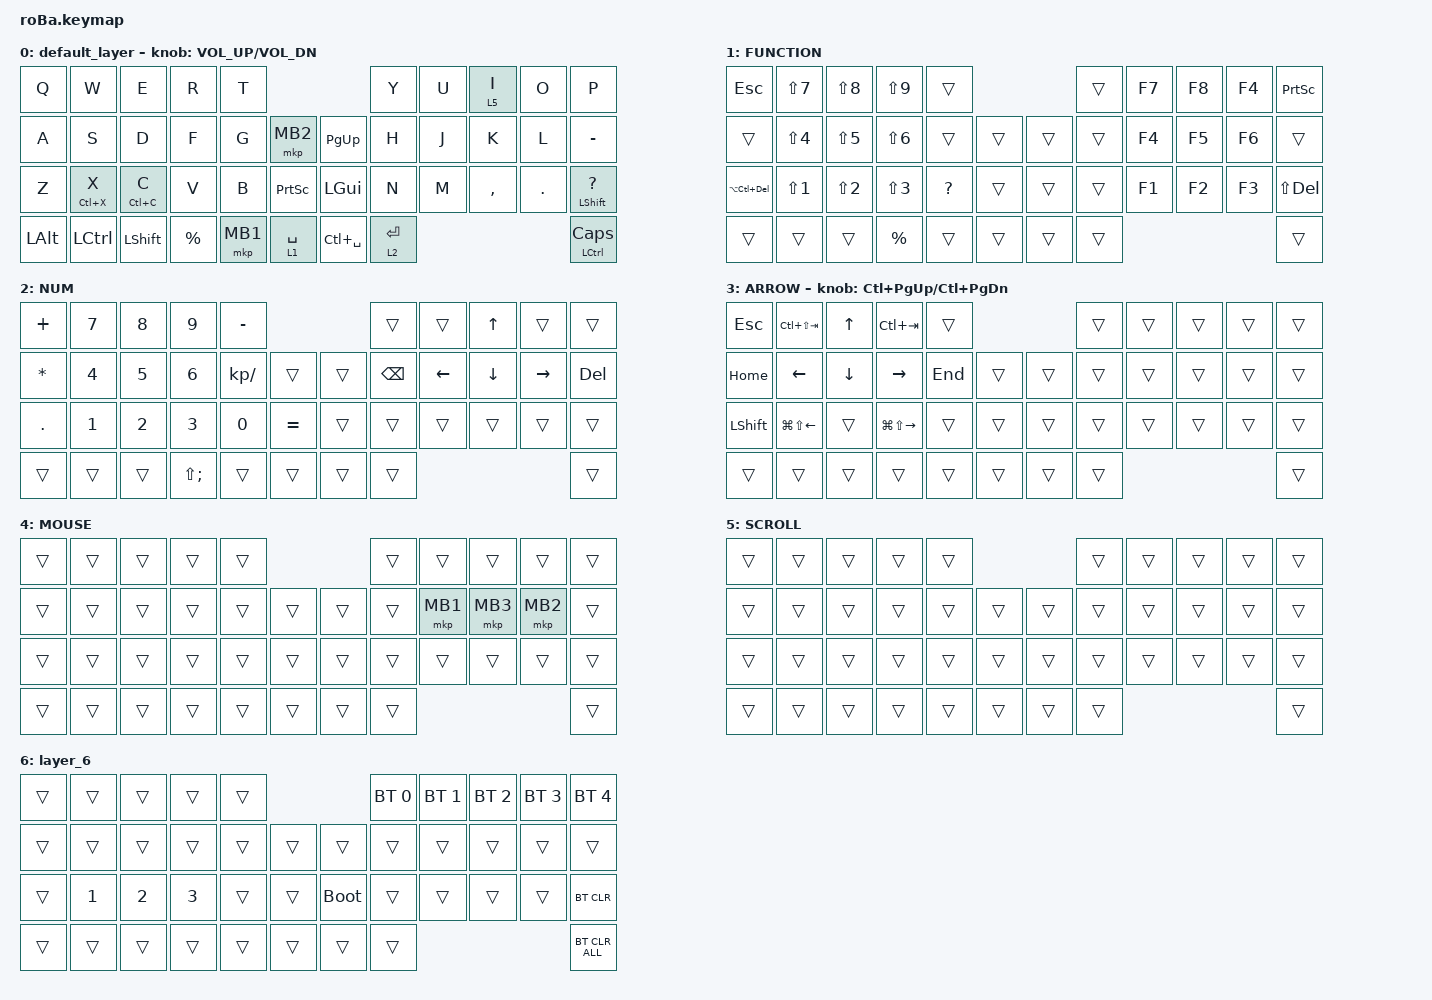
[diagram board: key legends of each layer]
#include <behaviors.dtsi>
#include <dt-bindings/zmk/bt.h>
#include <dt-bindings/zmk/keys.h>
#include <dt-bindings/zmk/pointing.h>

&mt {
    flavor = "balanced";
    quick-tap-ms = <0>;
};

&trackball {
    automouse-layer = <4>;
    scroll-layers = <5>;

    // arrows {
    //     layers = <3>;
    //     bindings =
    //         <&kp RIGHT_ARROW>,
    //         <&kp LEFT_ARROW>,
    //         <&kp UP_ARROW>,
    //         <&kp DOWN_ARROW>;
    //     tick = <10>;
    //     wait-ms = <5>;
    //     tap-ms = <5>;
    // };
};

/ {
    combos {
        compatible = "zmk,combos";

        tab {
            bindings = <&kp LEFT_ALT>;
            key-positions = <13 12>;
        };

        shift_tab {
            bindings = <&kp TAB>;
            key-positions = <18 19>;
        };

        day {
            bindings = <&kp LC(SEMICOLON)>;
            key-positions = <20 21>;
        };

        hizuke {
            bindings = <&kp LC(V)>;
            key-positions = <26 25>;
        };
    };

    macros {
        to_layer_0: to_layer_0 {
            compatible = "zmk,behavior-macro-one-param";
            #binding-cells = <1>;
            bindings = <&to 0 &macro_param_1to1 &kp MACRO_PLACEHOLDER>;
            label = "TO_LAYER_0";
        };
    };

    behaviors {
        lt_to_layer_0: lt_to_layer_0 {
            compatible = "zmk,behavior-hold-tap";
            label = "LAYER_TAP_TO_0";
            bindings = <&mo>, <&to_layer_0>;

            #binding-cells = <2>;
            tapping-term-ms = <200>;
        };
    };

    keymap {
        compatible = "zmk,keymap";

        default_layer {
            bindings = <
&kp Q         &kp W             &kp E           &kp R        &kp T                                     &kp Y        &kp U  &lt 5 I    &kp O    &kp P
&kp A         &kp S             &kp D           &kp F        &kp G     &mkp MB2         &kp PAGE_UP    &kp H        &kp J  &kp K      &kp L    &kp MINUS
&kp Z         &mt LC(X) X       &mt LC(C) C     &kp V        &kp B     &kp PSCRN        &kp LEFT_GUI   &kp N        &kp M  &kp COMMA  &kp DOT  &mt LEFT_SHIFT QMARK
&kp LEFT_ALT  &kp LEFT_CONTROL  &kp LEFT_SHIFT  &kp PERCENT  &mkp MB1  &lt 1 SPACE      &kp LC(SPACE)  &lt 2 ENTER                             &mt LEFT_CONTROL CLCK
            >;

            sensor-bindings = <&inc_dec_kp C_VOL_UP C_VOL_DN>;
        };

        FUNCTION {
            bindings = <
&kp ESC          &kp LS(N7)        &kp LS(N8)  &kp LS(N9)        &trans                            &trans  &kp F7  &kp F8  &kp F4  &kp PSCRN
&trans           &kp LS(N4)        &kp LS(N5)  &kp LS(NUMBER_6)  &trans        &trans      &trans  &trans  &kp F4  &kp F5  &kp F6  &trans
&kp LA(LC(DEL))  &kp LS(NUMBER_1)  &kp LS(N2)  &kp LS(NUMBER_3)  &kp QUESTION  &trans      &trans  &trans  &kp F1  &kp F2  &kp F3  &kp LS(DEL)
&trans           &trans            &trans      &kp PERCENT       &trans        &trans      &trans  &trans                          &trans
            >;
        };

        NUM {
            bindings = <
&kp PLUS      &kp NUMBER_7  &kp N8        &kp NUMBER_9       &kp MINUS                            &trans         &trans          &kp UP_ARROW    &trans           &trans
&kp ASTERISK  &kp N4        &kp N5        &kp NUMBER_6       &kp KP_SLASH  &trans         &trans  &kp BACKSPACE  &kp LEFT_ARROW  &kp DOWN_ARROW  &kp RIGHT_ARROW  &kp DEL
&kp PERIOD    &kp NUMBER_1  &kp NUMBER_2  &kp NUMBER_3       &kp NUMBER_0  &kp EQUAL      &trans  &trans         &trans          &trans          &trans           &trans
&trans        &trans        &trans        &kp LS(SEMICOLON)  &trans        &trans         &trans  &trans                                                          &trans
            >;
        };

        ARROW {
            bindings = <
&kp ESCAPE      &kp LC(LS(TAB))         &kp UP_ARROW    &kp LC(TAB)              &trans                       &trans  &trans  &trans  &trans  &trans
&kp HOME        &kp LEFT_ARROW          &kp DOWN_ARROW  &kp RIGHT_ARROW          &kp END  &trans      &trans  &trans  &trans  &trans  &trans  &trans
&kp LEFT_SHIFT  &kp LG(LS(LEFT_ARROW))  &trans          &kp LG(LS(RIGHT_ARROW))  &trans   &trans      &trans  &trans  &trans  &trans  &trans  &trans
&trans          &trans                  &trans          &trans                   &trans   &trans      &trans  &trans                          &trans
            >;

            sensor-bindings = <&inc_dec_kp LC(PAGE_UP) LC(PAGE_DOWN)>;
        };

        MOUSE {
            bindings = <
&trans  &trans  &trans  &trans  &trans                      &trans  &trans    &trans    &trans    &trans
&trans  &trans  &trans  &trans  &trans  &trans      &trans  &trans  &mkp MB1  &mkp MB3  &mkp MB2  &trans
&trans  &trans  &trans  &trans  &trans  &trans      &trans  &trans  &trans    &trans    &trans    &trans
&trans  &trans  &trans  &trans  &trans  &trans      &trans  &trans                                &trans
            >;
        };

        SCROLL {
            bindings = <
&trans  &trans  &trans  &trans  &trans                      &trans  &trans  &trans  &trans  &trans
&trans  &trans  &trans  &trans  &trans  &trans      &trans  &trans  &trans  &trans  &trans  &trans
&trans  &trans  &trans  &trans  &trans  &trans      &trans  &trans  &trans  &trans  &trans  &trans
&trans  &trans  &trans  &trans  &trans  &trans      &trans  &trans                          &trans
            >;
        };

        layer_6 {
            bindings = <
&trans  &trans        &trans        &trans        &trans                           &bt BT_SEL 0  &bt BT_SEL 1  &bt BT_SEL 2  &bt BT_SEL 3  &bt BT_SEL 4
&trans  &trans        &trans        &trans        &trans  &trans      &trans       &trans        &trans        &trans        &trans        &trans
&trans  &kp NUMBER_1  &kp NUMBER_2  &kp NUMBER_3  &trans  &trans      &bootloader  &trans        &trans        &trans        &trans        &bt BT_CLR
&trans  &trans        &trans        &trans        &trans  &trans      &trans       &trans                                                  &bt BT_CLR_ALL
            >;
        };
    };
};
